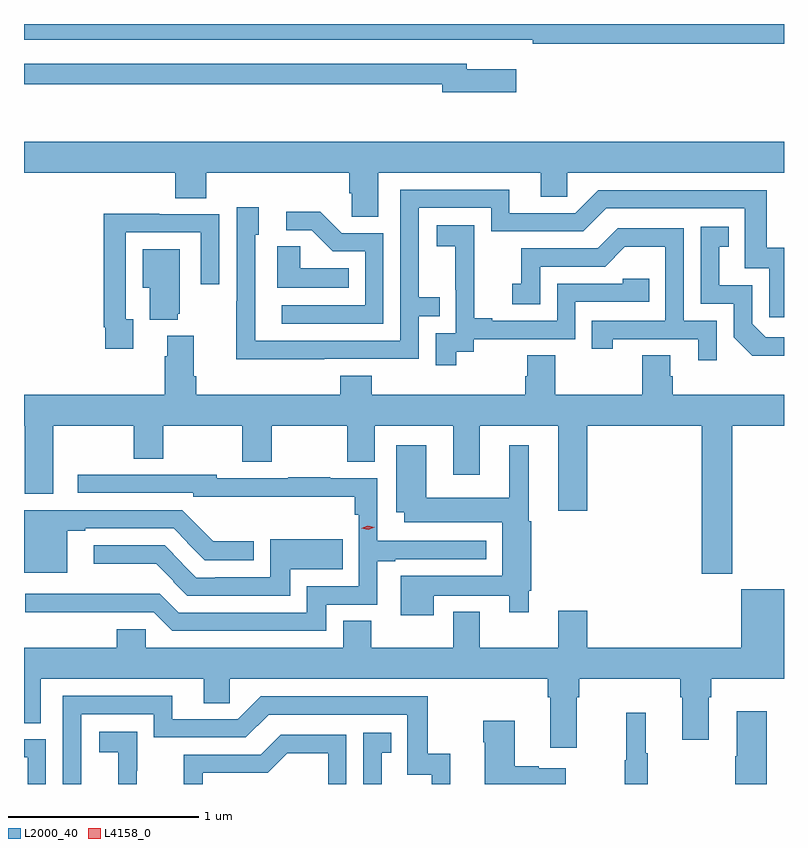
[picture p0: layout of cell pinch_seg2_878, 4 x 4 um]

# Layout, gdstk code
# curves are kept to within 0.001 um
import gdstk
lib = gdstk.Library(unit=1e-6, precision=1e-09)
def P(c, l, *ps):  # polygons
    for p in ps: c.add(gdstk.Polygon(p, *l))
L2000_40 = (2000, 40)
L4158_0 = (4158, 0)

pinch_seg2_878 = lib.new_cell('pinch_seg2_878')
P(pinch_seg2_878, L2000_40, [(422.442,604.463),(418.442,604.463),(418.442,604.38),(420.868,604.38),(420.868,604.379),(421.12,604.379),(421.12,604.36),(422.442,604.36)],
  [(421.033,604.225),(420.772,604.225),(420.772,604.254),(418.442,604.254),(418.442,604.146),(420.644,604.146),(420.644,604.103),(421.033,604.103)],
  [(420.307,603.68),(421.163,603.68),(421.163,603.553),(421.302,603.553),(421.302,603.68),(422.442,603.68),(422.442,603.844),(418.442,603.844),(418.442,603.68),(419.237,603.68),(419.237,603.547),(419.402,603.547),(419.402,603.68),(420.155,603.68),(420.155,603.571),(420.168,603.571),(420.168,603.448),(420.307,603.448)],
  [(420.023,602.7),(420.519,602.7),(420.519,602.925),(420.629,602.925),(420.629,603.026),(420.519,603.026),(420.519,603.495),(420.9,603.495),(420.9,603.372),(421.386,603.372),(421.506,603.492),(422.235,603.492),(422.235,603.177),(422.364,603.177),(422.364,602.919),(422.442,602.919),(422.442,603.286),(422.351,603.286),(422.351,603.588),(421.464,603.588),(421.344,603.468),(420.997,603.468),(420.997,603.591),(420.423,603.591),(420.423,602.796),(419.658,602.796),(419.658,603.354),(419.677,603.354),(419.677,603.499),(419.562,603.499),(419.562,603.005),(419.56,603.005),(419.56,602.699)],
  [(420.333,603.363),(420.114,603.363),(420.001,603.476),(419.823,603.476),(419.823,603.378),(419.957,603.378),(420.068,603.267),(420.237,603.267),(420.237,602.982),(419.799,602.982),(419.799,602.886),(420.333,602.886)],
  [(419.017,602.91),(418.977,602.91),(418.977,603.366),(419.373,603.366),(419.373,603.093),(419.469,603.093),(419.469,603.462),(419.153,603.462),(419.153,603.464),(418.861,603.464),(418.861,602.866),(418.869,602.866),(418.869,602.754),(419.017,602.754)],
  [(420.718,602.737),(420.81,602.737),(420.81,602.805),(421.344,602.805),(421.344,603),(421.733,603),(421.733,603.123),(421.593,603.123),(421.593,603.096),(421.248,603.096),(421.248,602.901),(420.907,602.901),(420.907,602.914),(420.812,602.914),(420.812,603.197),(420.813,603.197),(420.813,603.403),(420.615,603.403),(420.615,603.293),(420.713,603.293),(420.713,603.065),(420.714,603.065),(420.714,602.835),(420.609,602.835),(420.609,602.667),(420.718,602.667)],
  [(422.442,602.814),(422.346,602.814),(422.274,602.886),(422.274,603.087),(422.101,603.087),(422.101,603.291),(422.15,603.291),(422.15,603.397),(422.004,603.397),(422.004,602.991),(422.178,602.991),(422.178,602.814),(422.276,602.717),(422.442,602.717)],
  [(422.088,602.901),(421.914,602.901),(421.914,603.387),(421.568,603.387),(421.463,603.282),(421.06,603.282),(421.06,603.097),(421.011,603.097),(421.011,602.988),(421.158,602.988),(421.158,603.186),(421.5,603.186),(421.604,603.29),(421.818,603.29),(421.818,602.901),(421.429,602.901),(421.429,602.754),(421.54,602.754),(421.54,602.805),(421.991,602.805),(421.991,602.694),(422.088,602.694)],
  [(420.152,603.178),(419.895,603.178),(419.895,603.293),(419.774,603.293),(419.774,603.074),(420.152,603.074)],
  [(419.252,602.937),(419.263,602.937),(419.263,603.277),(419.066,603.277),(419.066,603.074),(419.105,603.074),(419.105,602.906),(419.252,602.906)],
  [(422.169,602.348),(422.442,602.348),(422.442,602.512),(421.856,602.512),(421.856,602.61),(421.843,602.61),(421.843,602.72),(421.696,602.72),(421.696,602.512),(421.239,602.512),(421.239,602.72),(421.091,602.72),(421.091,602.61),(421.079,602.61),(421.079,602.512),(420.272,602.512),(420.272,602.611),(420.107,602.611),(420.107,602.512),(419.348,602.512),(419.348,602.608),(419.335,602.608),(419.335,602.821),(419.195,602.821),(419.195,602.714),(419.183,602.714),(419.183,602.512),(418.442,602.512),(418.442,602.348),(418.445,602.348),(418.445,601.991),(418.597,601.991),(418.597,602.348),(419.02,602.348),(419.02,602.176),(419.175,602.176),(419.175,602.348),(419.59,602.348),(419.59,602.158),(419.745,602.158),(419.745,602.348),(420.142,602.348),(420.142,602.158),(420.289,602.158),(420.289,602.348),(420.701,602.348),(420.701,602.091),(420.841,602.091),(420.841,602.348),(421.253,602.348),(421.253,601.902),(421.406,601.902),(421.406,602.348),(422.009,602.348),(422.009,601.569),(422.169,601.569)],
  [(420.598,601.454),(420.995,601.454),(420.995,601.368),(421.099,601.368),(421.099,601.48),(421.112,601.48),(421.112,601.845),(421.099,601.845),(421.099,602.245),(420.995,602.245),(420.995,601.969),(420.559,601.969),(420.559,602.245),(420.401,602.245),(420.401,601.892),(420.443,601.892),(420.443,601.841),(420.959,601.841),(420.959,601.558),(420.425,601.558),(420.425,601.352),(420.598,601.352)],
  [(420.034,601.407),(420.3,601.407),(420.3,601.635),(420.397,601.635),(420.397,601.647),(420.874,601.647),(420.874,601.743),(420.301,601.743),(420.3,602.073),(420.053,602.073),(420.053,602.078),(419.833,602.078),(419.833,602.073),(419.457,602.073),(419.457,602.091),(418.725,602.091),(418.725,601.995),(419.334,601.995),(419.334,601.975),(420.184,601.975),(420.184,601.88),(420.204,601.88),(420.204,601.503),(419.93,601.503),(419.93,601.365),(419.256,601.365),(419.157,601.464),(418.449,601.464),(418.449,601.367),(419.124,601.368),(419.223,601.269),(420.034,601.269)],
  [(418.669,601.797),(418.765,601.797),(418.765,601.809),(419.229,601.809),(419.302,601.736),(419.3,601.734),(419.393,601.641),(419.65,601.641),(419.65,601.74),(419.438,601.74),(419.275,601.905),(418.442,601.905),(418.442,601.574),(418.669,601.574)],
  [(419.842,601.592),(420.119,601.592),(420.119,601.75),(419.738,601.75),(419.738,601.551),(419.449,601.551),(419.449,601.548),(419.349,601.548),(419.273,601.624),(419.275,601.626),(419.182,601.719),(418.809,601.719),(418.809,601.622),(419.137,601.622),(419.229,601.53),(419.227,601.528),(419.3,601.455),(419.842,601.455)],
  [(421.351,600.92),(421.364,600.92),(421.364,601.016),(421.895,601.016),(421.895,600.92),(421.907,600.92),(421.907,600.696),(422.047,600.696),(422.047,600.92),(422.06,600.92),(422.06,601.016),(422.442,601.016),(422.442,601.489),(422.216,601.489),(422.216,601.18),(421.406,601.18),(421.406,601.375),(421.253,601.375),(421.253,601.18),(420.841,601.18),(420.841,601.369),(420.701,601.369),(420.701,601.18),(420.27,601.18),(420.27,601.322),(420.122,601.322),(420.122,601.18),(419.082,601.18),(419.082,601.278),(418.931,601.278),(418.931,601.18),(418.442,601.18),(418.442,600.784),(418.531,600.784),(418.531,601.016),(419.387,601.016),(419.387,600.889),(419.526,600.889),(419.526,601.016),(421.199,601.016),(421.199,600.92),(421.211,600.92),(421.211,600.654),(421.351,600.654)],
  [(418.743,600.831),(419.124,600.831),(419.124,600.708),(419.61,600.708),(419.73,600.828),(420.459,600.828),(420.459,600.513),(420.588,600.513),(420.588,600.463),(420.686,600.463),(420.686,600.622),(420.568,600.622),(420.568,600.924),(419.688,600.924),(419.568,600.804),(419.221,600.804),(419.221,600.927),(418.647,600.927),(418.647,600.463),(418.743,600.463)],
  [(422.351,600.847),(422.192,600.847),(422.192,600.608),(422.185,600.608),(422.185,600.463),(422.351,600.463)],
  [(421.726,600.625),(421.715,600.625),(421.715,600.838),(421.612,600.838),(421.612,600.588),(421.605,600.588),(421.605,600.463),(421.726,600.463)],
  [(421.294,600.547),(421.151,600.547),(421.151,600.557),(421.024,600.557),(421.024,600.796),(420.859,600.796),(420.859,600.683),(420.866,600.683),(420.866,600.463),(421.294,600.463)],
  [(419.036,600.533),(419.037,600.533),(419.037,600.739),(418.839,600.739),(418.839,600.629),(418.937,600.629),(418.937,600.463),(419.036,600.463)],
  [(420.325,600.627),(420.374,600.627),(420.374,600.733),(420.228,600.733),(420.228,600.463),(420.325,600.463)],
  [(419.382,600.522),(419.724,600.522),(419.828,600.626),(420.042,600.626),(420.042,600.463),(420.138,600.463),(420.138,600.723),(419.792,600.723),(419.687,600.618),(419.284,600.618),(419.284,600.463),(419.382,600.463)],
  [(418.557,600.699),(418.442,600.699),(418.442,600.603),(418.461,600.603),(418.461,600.463),(418.557,600.463)])
P(pinch_seg2_878, L4158_0, [(420.253,601.801),(420.217,601.809),(420.217,601.809),(420.217,601.809),(420.252,601.821),(420.288,601.814),(420.289,601.814),(420.288,601.814)])

lib.write_gds('pinch_seg2_878.gds')
